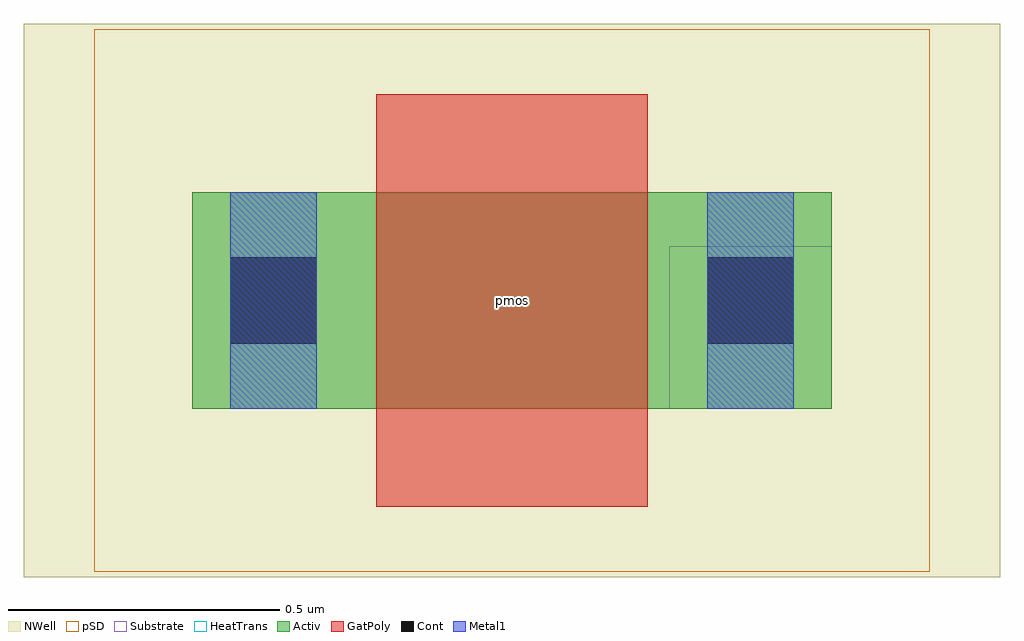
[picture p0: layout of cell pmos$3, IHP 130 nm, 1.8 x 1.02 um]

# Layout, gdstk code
import gdstk
lib = gdstk.Library(unit=1e-6, precision=1e-09)
def R(c, l, rs):  # rectangles x0, y0, x1, y1
    for r in rs: c.add(gdstk.rectangle(r[:2], r[2:], *l))
Activ = (1, 0)
GatPoly = (5, 0)
Cont = (6, 0)
Metal1 = (8, 0)
pSD = (14, 0)
NWell = (31, 0)
Substrate = (40, 0)
HeatTrans = (51, 0)

pmos_3 = lib.new_cell('pmos$3')
R(pmos_3, Activ, [(0,0,0.3,0.3), (0,0,1.18,0.4), (0.88,0,1.18,0.3)])
R(pmos_3, GatPoly, [(0.34,-0.18,0.84,0.58), (0.34,-0.18,0.84,0.58)])
R(pmos_3, Cont, [(0.07,0.12,0.23,0.28), (0.95,0.12,1.11,0.28)])
R(pmos_3, Metal1, [(0.07,0,0.23,0.4), (0.07,0,0.23,0.4), (0.95,0,1.11,0.4), (0.95,0,1.11,0.4)])
R(pmos_3, pSD, [(-0.18,-0.3,1.36,0.7)])
R(pmos_3, NWell, [(-0.31,-0.31,1.49,0.71)])
R(pmos_3, Substrate, [(0.88,0,1.18,0.3)])
R(pmos_3, HeatTrans, [(0.34,-0.18,0.84,0.58)])
pmos_3.add(gdstk.Label('pmos', (0.59,0.2), layer=63, texttype=0))
pmos_3.add(gdstk.Label('pmos', (0.59,0.2), layer=51, texttype=0))

lib.write_gds('pmos_3.gds')
